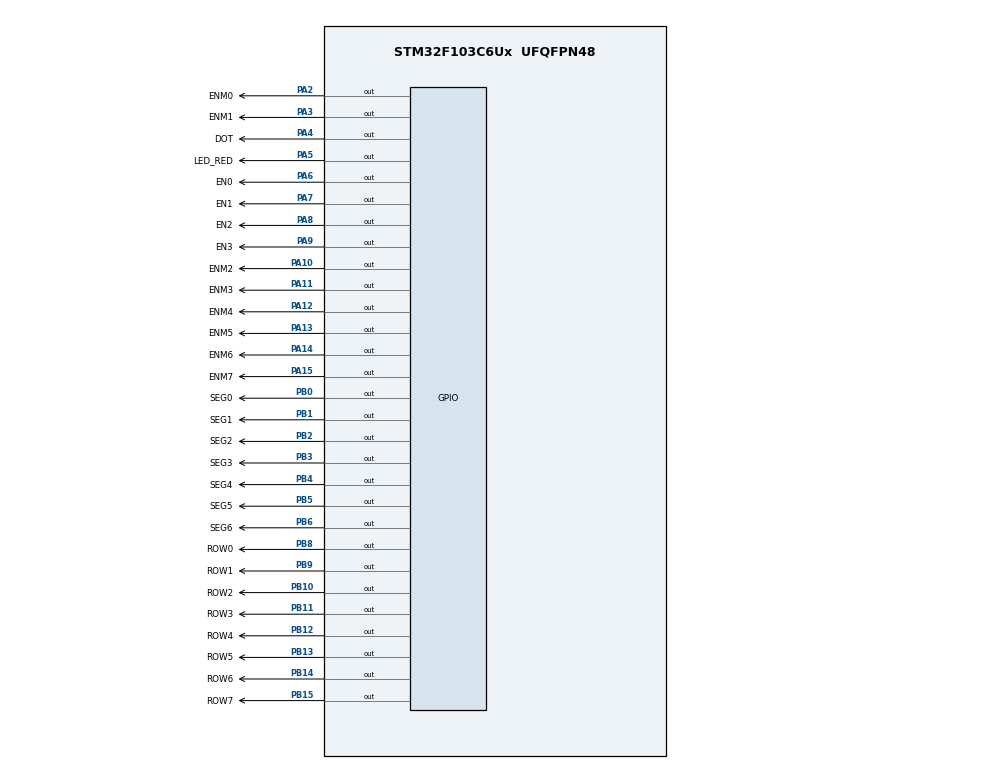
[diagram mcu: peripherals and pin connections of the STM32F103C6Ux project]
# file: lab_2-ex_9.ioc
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Mcu.Family=STM32F1
Mcu.Name=STM32F103C6Ux
Mcu.Package=UFQFPN48
NVIC.PriorityGroup=NVIC_PRIORITYGROUP_4
NVIC.TIM2_IRQn=true\:0\:0\:false\:false\:true\:true\:true
PA10.GPIO_Label=ENM2
PA10.Signal=GPIO_Output
PA11.GPIO_Label=ENM3
PA11.Signal=GPIO_Output
PA12.GPIO_Label=ENM4
PA12.Signal=GPIO_Output
PA13.GPIO_Label=ENM5
PA13.Signal=GPIO_Output
PA14.GPIO_Label=ENM6
PA14.Signal=GPIO_Output
PA15.GPIO_Label=ENM7
PA15.Signal=GPIO_Output
PA2.GPIO_Label=ENM0
PA2.Signal=GPIO_Output
PA3.GPIO_Label=ENM1
PA3.Signal=GPIO_Output
PA4.GPIO_Label=DOT
PA4.Signal=GPIO_Output
PA5.GPIO_Label=LED_RED
PA5.Signal=GPIO_Output
PA6.GPIO_Label=EN0
PA6.Signal=GPIO_Output
PA7.GPIO_Label=EN1
PA7.Signal=GPIO_Output
PA8.GPIO_Label=EN2
PA8.Signal=GPIO_Output
PA9.GPIO_Label=EN3
PA9.Signal=GPIO_Output
PB0.GPIO_Label=SEG0
PB0.Signal=GPIO_Output
PB1.GPIO_Label=SEG1
PB1.Signal=GPIO_Output
PB10.GPIO_Label=ROW2
PB10.Signal=GPIO_Output
PB11.GPIO_Label=ROW3
PB11.Signal=GPIO_Output
PB12.GPIO_Label=ROW4
PB12.Signal=GPIO_Output
PB13.GPIO_Label=ROW5
PB13.Signal=GPIO_Output
PB14.GPIO_Label=ROW6
PB14.Signal=GPIO_Output
PB15.GPIO_Label=ROW7
PB15.Signal=GPIO_Output
PB2.GPIO_Label=SEG2
PB2.Signal=GPIO_Output
PB3.GPIO_Label=SEG3
PB3.Signal=GPIO_Output
PB4.GPIO_Label=SEG4
PB4.Signal=GPIO_Output
PB5.GPIO_Label=SEG5
PB5.Signal=GPIO_Output
PB6.GPIO_Label=SEG6
PB6.Signal=GPIO_Output
PB8.GPIO_Label=ROW0
PB8.Signal=GPIO_Output
PB9.GPIO_Label=ROW1
PB9.Signal=GPIO_Output
ProjectManager.HeapSize=0x200
ProjectManager.StackSize=0x400
ProjectManager.TargetToolchain=STM32CubeIDE
RCC.APB1Freq_Value=8000000
RCC.APB2Freq_Value=8000000
TIM2.Period=9
TIM2.Prescaler=7999
VP_SYS_VS_ND.Mode=No_Debug
VP_TIM2_VS_ClockSourceINT.Mode=Internal
board=custom

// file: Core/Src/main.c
/* USER CODE BEGIN Header */
/**
  ******************************************************************************
  * @file           : main.c
  * @brief          : Main program body
  ******************************************************************************
  * @attention
  *
  * <h2><center>&copy; Copyright (c) 2022 STMicroelectronics.
  * All rights reserved.</center></h2>
  *
  * This software component is licensed by ST under BSD 3-Clause license,
  * the "License"; You may not use this file except in compliance with the
  * License. You may obtain a copy of the License at:
  *                        opensource.org/licenses/BSD-3-Clause
  *
  ******************************************************************************
  */
/* USER CODE END Header */
#include "main.h"

TIM_HandleTypeDef htim2;

void SystemClock_Config(void);
static void MX_GPIO_Init(void);
static void MX_TIM2_Init(void);

/* USER CODE BEGIN 0 */
int hour = 15, minute = 8, second = 50;
void updateClockBuffer();
int timer0_counter = 0;
int timer0_flag = 0;
int TIMER_CYCLE = 10;
void setTimer0(int duration){
	timer0_counter = duration /TIMER_CYCLE;
	timer0_flag = 0;
}
int timer1_counter = 0;
int timer1_flag = 0;
void setTimer1(int duration){
	timer1_counter = duration /TIMER_CYCLE;
	timer1_flag = 0;
}
void timer_run(){
	if(timer0_counter > 0){
		timer0_counter--;
		if(timer0_counter == 0) timer0_flag = 1;
	}
	if(timer1_counter > 0){
		timer1_counter--;
		if(timer1_counter == 0) timer1_flag = 1;
	}
}
/* USER CODE END 0 */

int main(void)
{
  /* USER CODE BEGIN 1 */
	const int MAX_LED = 4;
	int index_led = 1;
	int led_buffer[4] = {0, 5, 7, 8};
	int flag_start = 0;
	int flag_matrix_start = 0;
	unsigned char num[] = {0x40, 0x79, 0x24, 0x30, 0x19, 0x12, 0x02, 0x78, 0x00, 0x10};

	void updateClockBuffer(){
		//Hour
		  if(hour < 10){
			  led_buffer[0] = 0;
			  led_buffer[1] = hour;
		  } else if(hour < 20 && hour >= 10){
			  led_buffer[0] = 1;
			  led_buffer[1] = hour - 10;
		  } else {
			  led_buffer[0] = 2;
			  led_buffer[2] = hour - 20;
		  }
		 //Minute
		  if(minute < 10){
			  led_buffer[2] = 0;
			  led_buffer[3] = minute;
		  } else if(minute < 20 && minute >= 10){
			  led_buffer[2] = 1;
			  led_buffer[3] = minute - 10;
		  } else if(minute < 30 && minute >= 20){
			  led_buffer[2] = 2;
			  led_buffer[3] = minute - 20;
		  } else if(minute < 40 && minute >= 30){
			  led_buffer[2] = 3;
			  led_buffer[3] = minute - 30;
		  }else if(minute < 50 && minute >= 40){
			  led_buffer[2] = 4;
			  led_buffer[3] = minute - 40;
		  }else{
			  led_buffer[2] = 5;
			  led_buffer[3] = minute - 50;
		  }
	}

	void update7SEG(int index){
		updateClockBuffer();
		HAL_GPIO_WritePin ( EN0_GPIO_Port, EN0_Pin , SET );
		HAL_GPIO_WritePin ( EN1_GPIO_Port, EN1_Pin , SET );
		HAL_GPIO_WritePin ( EN2_GPIO_Port, EN2_Pin , SET );
		HAL_GPIO_WritePin ( EN3_GPIO_Port, EN3_Pin , SET );
	    switch (index){
	        case 0:
	            //Display the first 7SEG with led_buffer[0]
	        	GPIOB->ODR = num[led_buffer[0]];
	        	HAL_GPIO_WritePin ( EN0_GPIO_Port, EN0_Pin , RESET );
	            break;
	        case 1:
	            //Display the second 7SEG with led_buffer[1]
	        	GPIOB->ODR = num[led_buffer[1]];
	        	HAL_GPIO_WritePin ( EN1_GPIO_Port, EN1_Pin , RESET );
	            break;
	        case 2:
	            //Display the third 7SEG with led_buffer[2]
	        	GPIOB->ODR = num[led_buffer[2]];
	        	HAL_GPIO_WritePin ( EN2_GPIO_Port, EN2_Pin , RESET );
	            break;
	        case 3:
	            //Display the forth 7SEG with led_buffer[3]
	        	GPIOB->ODR = num[led_buffer[3]];
	        	HAL_GPIO_WritePin ( EN3_GPIO_Port, EN3_Pin , RESET );
	            break;
	        default:
	            break;
	    }
	}

  /* USER CODE END 1 */

  /* MCU Configuration--------------------------------------------------------*/

  /* Reset of all peripherals, Initializes the Flash interface and the Systick. */
  HAL_Init();

  /* USER CODE BEGIN Init */
  const int MAX_LED_MATRIX = 8;
  int index_led_matrix = 1;
//  uint8_t matrix_buffer[8] = {0x01, 0x02, 0x03, 0x04, 0x05, 0x06, 0x07, 0x08};
  void updateLEDMatrix(int index){
	  HAL_GPIO_WritePin(ENM0_GPIO_Port, ENM0_Pin, GPIO_PIN_SET);
	  HAL_GPIO_WritePin(ENM1_GPIO_Port, ENM1_Pin, GPIO_PIN_SET);
	  HAL_GPIO_WritePin(ENM2_GPIO_Port, ENM2_Pin, GPIO_PIN_SET);
	  HAL_GPIO_WritePin(ENM3_GPIO_Port, ENM3_Pin, GPIO_PIN_SET);
	  HAL_GPIO_WritePin(ENM4_GPIO_Port, ENM4_Pin, GPIO_PIN_SET);
	  HAL_GPIO_WritePin(ENM5_GPIO_Port, ENM5_Pin, GPIO_PIN_SET);
	  HAL_GPIO_WritePin(ENM6_GPIO_Port, ENM6_Pin, GPIO_PIN_SET);
	  HAL_GPIO_WritePin(ENM7_GPIO_Port, ENM7_Pin, GPIO_PIN_SET);

	  HAL_GPIO_WritePin(ROW0_GPIO_Port, ROW0_Pin, GPIO_PIN_SET);
	  HAL_GPIO_WritePin(ROW1_GPIO_Port, ROW1_Pin, GPIO_PIN_SET);
	  HAL_GPIO_WritePin(ROW2_GPIO_Port, ROW2_Pin, GPIO_PIN_SET);
	  HAL_GPIO_WritePin(ROW3_GPIO_Port, ROW3_Pin, GPIO_PIN_SET);
	  HAL_GPIO_WritePin(ROW4_GPIO_Port, ROW4_Pin, GPIO_PIN_SET);
	  HAL_GPIO_WritePin(ROW5_GPIO_Port, ROW5_Pin, GPIO_PIN_SET);
	  HAL_GPIO_WritePin(ROW6_GPIO_Port, ROW6_Pin, GPIO_PIN_SET);
	  HAL_GPIO_WritePin(ROW7_GPIO_Port, ROW7_Pin, GPIO_PIN_SET);
      switch (index){
          case 0:
        	  HAL_GPIO_WritePin(ENM0_GPIO_Port, ENM0_Pin, GPIO_PIN_SET);
        	  HAL_GPIO_WritePin(ENM1_GPIO_Port, ENM1_Pin, GPIO_PIN_SET);
        	  HAL_GPIO_WritePin(ENM2_GPIO_Port, ENM2_Pin, GPIO_PIN_SET);
        	  HAL_GPIO_WritePin(ENM3_GPIO_Port, ENM3_Pin, GPIO_PIN_RESET);
        	  HAL_GPIO_WritePin(ENM4_GPIO_Port, ENM4_Pin, GPIO_PIN_RESET);
        	  HAL_GPIO_WritePin(ENM5_GPIO_Port, ENM5_Pin, GPIO_PIN_SET);
        	  HAL_GPIO_WritePin(ENM6_GPIO_Port, ENM6_Pin, GPIO_PIN_SET);
        	  HAL_GPIO_WritePin(ENM7_GPIO_Port, ENM7_Pin, GPIO_PIN_SET);

        	  HAL_GPIO_WritePin(ROW0_GPIO_Port, ROW0_Pin, GPIO_PIN_RESET);
        	  HAL_GPIO_WritePin(ROW1_GPIO_Port, ROW1_Pin, GPIO_PIN_SET);
        	  HAL_GPIO_WritePin(ROW2_GPIO_Port, ROW2_Pin, GPIO_PIN_SET);
        	  HAL_GPIO_WritePin(ROW3_GPIO_Port, ROW3_Pin, GPIO_PIN_SET);
        	  HAL_GPIO_WritePin(ROW4_GPIO_Port, ROW4_Pin, GPIO_PIN_SET);
        	  HAL_GPIO_WritePin(ROW5_GPIO_Port, ROW5_Pin, GPIO_PIN_SET);
        	  HAL_GPIO_WritePin(ROW6_GPIO_Port, ROW6_Pin, GPIO_PIN_SET);
        	  HAL_GPIO_WritePin(ROW7_GPIO_Port, ROW7_Pin, GPIO_PIN_SET);
              break;
          case 1:
        	  HAL_GPIO_WritePin(ENM0_GPIO_Port, ENM0_Pin, GPIO_PIN_SET);
        	  HAL_GPIO_WritePin(ENM1_GPIO_Port, ENM1_Pin, GPIO_PIN_SET);
        	  HAL_GPIO_WritePin(ENM2_GPIO_Port, ENM2_Pin, GPIO_PIN_RESET);
        	  HAL_GPIO_WritePin(ENM3_GPIO_Port, ENM3_Pin, GPIO_PIN_RESET);
        	  HAL_GPIO_WritePin(ENM4_GPIO_Port, ENM4_Pin, GPIO_PIN_RESET);
        	  HAL_GPIO_WritePin(ENM5_GPIO_Port, ENM5_Pin, GPIO_PIN_RESET);
        	  HAL_GPIO_WritePin(ENM6_GPIO_Port, ENM6_Pin, GPIO_PIN_SET);
        	  HAL_GPIO_WritePin(ENM7_GPIO_Port, ENM7_Pin, GPIO_PIN_SET);

        	  HAL_GPIO_WritePin(ROW0_GPIO_Port, ROW0_Pin, GPIO_PIN_SET);
        	  HAL_GPIO_WritePin(ROW1_GPIO_Port, ROW1_Pin, GPIO_PIN_RESET);
        	  HAL_GPIO_WritePin(ROW2_GPIO_Port, ROW2_Pin, GPIO_PIN_SET);
        	  HAL_GPIO_WritePin(ROW3_GPIO_Port, ROW3_Pin, GPIO_PIN_SET);
        	  HAL_GPIO_WritePin(ROW4_GPIO_Port, ROW4_Pin, GPIO_PIN_SET);
        	  HAL_GPIO_WritePin(ROW5_GPIO_Port, ROW5_Pin, GPIO_PIN_SET);
        	  HAL_GPIO_WritePin(ROW6_GPIO_Port, ROW6_Pin, GPIO_PIN_SET);
        	  HAL_GPIO_WritePin(ROW7_GPIO_Port, ROW7_Pin, GPIO_PIN_SET);
              break;
          case 2:
        	  HAL_GPIO_WritePin(ENM0_GPIO_Port, ENM0_Pin, GPIO_PIN_SET);
        	  HAL_GPIO_WritePin(ENM1_GPIO_Port, ENM1_Pin, GPIO_PIN_RESET);
        	  HAL_GPIO_WritePin(ENM2_GPIO_Port, ENM2_Pin, GPIO_PIN_RESET);
        	  HAL_GPIO_WritePin(ENM3_GPIO_Port, ENM3_Pin, GPIO_PIN_SET);
        	  HAL_GPIO_WritePin(ENM4_GPIO_Port, ENM4_Pin, GPIO_PIN_SET);
        	  HAL_GPIO_WritePin(ENM5_GPIO_Port, ENM5_Pin, GPIO_PIN_RESET);
        	  HAL_GPIO_WritePin(ENM6_GPIO_Port, ENM6_Pin, GPIO_PIN_RESET);
        	  HAL_GPIO_WritePin(ENM7_GPIO_Port, ENM7_Pin, GPIO_PIN_SET);

        	  HAL_GPIO_WritePin(ROW0_GPIO_Port, ROW0_Pin, GPIO_PIN_SET);
        	  HAL_GPIO_WritePin(ROW1_GPIO_Port, ROW1_Pin, GPIO_PIN_SET);
        	  HAL_GPIO_WritePin(ROW2_GPIO_Port, ROW2_Pin, GPIO_PIN_RESET);
        	  HAL_GPIO_WritePin(ROW3_GPIO_Port, ROW3_Pin, GPIO_PIN_SET);
        	  HAL_GPIO_WritePin(ROW4_GPIO_Port, ROW4_Pin, GPIO_PIN_SET);
        	  HAL_GPIO_WritePin(ROW5_GPIO_Port, ROW5_Pin, GPIO_PIN_SET);
        	  HAL_GPIO_WritePin(ROW6_GPIO_Port, ROW6_Pin, GPIO_PIN_SET);
        	  HAL_GPIO_WritePin(ROW7_GPIO_Port, ROW7_Pin, GPIO_PIN_SET);
              break;
          case 3:
        	  HAL_GPIO_WritePin(ENM0_GPIO_Port, ENM0_Pin, GPIO_PIN_SET);
        	  HAL_GPIO_WritePin(ENM1_GPIO_Port, ENM1_Pin, GPIO_PIN_RESET);
        	  HAL_GPIO_WritePin(ENM2_GPIO_Port, ENM2_Pin, GPIO_PIN_RESET);
        	  HAL_GPIO_WritePin(ENM3_GPIO_Port, ENM3_Pin, GPIO_PIN_SET);
        	  HAL_GPIO_WritePin(ENM4_GPIO_Port, ENM4_Pin, GPIO_PIN_SET);
        	  HAL_GPIO_WritePin(ENM5_GPIO_Port, ENM5_Pin, GPIO_PIN_RESET);
        	  HAL_GPIO_WritePin(ENM6_GPIO_Port, ENM6_Pin, GPIO_PIN_RESET);
        	  HAL_GPIO_WritePin(ENM7_GPIO_Port, ENM7_Pin, GPIO_PIN_SET);

        	  HAL_GPIO_WritePin(ROW0_GPIO_Port, ROW0_Pin, GPIO_PIN_SET);
        	  HAL_GPIO_WritePin(ROW1_GPIO_Port, ROW1_Pin, GPIO_PIN_SET);
        	  HAL_GPIO_WritePin(ROW2_GPIO_Port, ROW2_Pin, GPIO_PIN_SET);
        	  HAL_GPIO_WritePin(ROW3_GPIO_Port, ROW3_Pin, GPIO_PIN_RESET);
        	  HAL_GPIO_WritePin(ROW4_GPIO_Port, ROW4_Pin, GPIO_PIN_SET);
        	  HAL_GPIO_WritePin(ROW5_GPIO_Port, ROW5_Pin, GPIO_PIN_SET);
        	  HAL_GPIO_WritePin(ROW6_GPIO_Port, ROW6_Pin, GPIO_PIN_SET);
        	  HAL_GPIO_WritePin(ROW7_GPIO_Port, ROW7_Pin, GPIO_PIN_SET);
              break;
          case 4:
        	  HAL_GPIO_WritePin(ENM0_GPIO_Port, ENM0_Pin, GPIO_PIN_SET);
        	  HAL_GPIO_WritePin(ENM1_GPIO_Port, ENM1_Pin, GPIO_PIN_RESET);
        	  HAL_GPIO_WritePin(ENM2_GPIO_Port, ENM2_Pin, GPIO_PIN_RESET);
        	  HAL_GPIO_WritePin(ENM3_GPIO_Port, ENM3_Pin, GPIO_PIN_RESET);
        	  HAL_GPIO_WritePin(ENM4_GPIO_Port, ENM4_Pin, GPIO_PIN_RESET);
        	  HAL_GPIO_WritePin(ENM5_GPIO_Port, ENM5_Pin, GPIO_PIN_RESET);
        	  HAL_GPIO_WritePin(ENM6_GPIO_Port, ENM6_Pin, GPIO_PIN_RESET);
        	  HAL_GPIO_WritePin(ENM7_GPIO_Port, ENM7_Pin, GPIO_PIN_SET);

        	  HAL_GPIO_WritePin(ROW0_GPIO_Port, ROW0_Pin, GPIO_PIN_SET);
        	  HAL_GPIO_WritePin(ROW1_GPIO_Port, ROW1_Pin, GPIO_PIN_SET);
        	  HAL_GPIO_WritePin(ROW2_GPIO_Port, ROW2_Pin, GPIO_PIN_SET);
        	  HAL_GPIO_WritePin(ROW3_GPIO_Port, ROW3_Pin, GPIO_PIN_SET);
        	  HAL_GPIO_WritePin(ROW4_GPIO_Port, ROW4_Pin, GPIO_PIN_RESET);
        	  HAL_GPIO_WritePin(ROW5_GPIO_Port, ROW5_Pin, GPIO_PIN_SET);
        	  HAL_GPIO_WritePin(ROW6_GPIO_Port, ROW6_Pin, GPIO_PIN_SET);
        	  HAL_GPIO_WritePin(ROW7_GPIO_Port, ROW7_Pin, GPIO_PIN_SET);
              break;
          case 5:
        	  HAL_GPIO_WritePin(ENM0_GPIO_Port, ENM0_Pin, GPIO_PIN_SET);
        	  HAL_GPIO_WritePin(ENM1_GPIO_Port, ENM1_Pin, GPIO_PIN_RESET);
        	  HAL_GPIO_WritePin(ENM2_GPIO_Port, ENM2_Pin, GPIO_PIN_RESET);
        	  HAL_GPIO_WritePin(ENM3_GPIO_Port, ENM3_Pin, GPIO_PIN_RESET);
        	  HAL_GPIO_WritePin(ENM4_GPIO_Port, ENM4_Pin, GPIO_PIN_RESET);
        	  HAL_GPIO_WritePin(ENM5_GPIO_Port, ENM5_Pin, GPIO_PIN_RESET);
        	  HAL_GPIO_WritePin(ENM6_GPIO_Port, ENM6_Pin, GPIO_PIN_RESET);
        	  HAL_GPIO_WritePin(ENM7_GPIO_Port, ENM7_Pin, GPIO_PIN_SET);

        	  HAL_GPIO_WritePin(ROW0_GPIO_Port, ROW0_Pin, GPIO_PIN_SET);
        	  HAL_GPIO_WritePin(ROW1_GPIO_Port, ROW1_Pin, GPIO_PIN_SET);
        	  HAL_GPIO_WritePin(ROW2_GPIO_Port, ROW2_Pin, GPIO_PIN_SET);
        	  HAL_GPIO_WritePin(ROW3_GPIO_Port, ROW3_Pin, GPIO_PIN_SET);
        	  HAL_GPIO_WritePin(ROW4_GPIO_Port, ROW4_Pin, GPIO_PIN_SET);
        	  HAL_GPIO_WritePin(ROW5_GPIO_Port, ROW5_Pin, GPIO_PIN_RESET);
        	  HAL_GPIO_WritePin(ROW6_GPIO_Port, ROW6_Pin, GPIO_PIN_SET);
        	  HAL_GPIO_WritePin(ROW7_GPIO_Port, ROW7_Pin, GPIO_PIN_SET);
              break;
          case 6:
        	  HAL_GPIO_WritePin(ENM0_GPIO_Port, ENM0_Pin, GPIO_PIN_SET);
        	  HAL_GPIO_WritePin(ENM1_GPIO_Port, ENM1_Pin, GPIO_PIN_RESET);
        	  HAL_GPIO_WritePin(ENM2_GPIO_Port, ENM2_Pin, GPIO_PIN_RESET);
        	  HAL_GPIO_WritePin(ENM3_GPIO_Port, ENM3_Pin, GPIO_PIN_SET);
        	  HAL_GPIO_WritePin(ENM4_GPIO_Port, ENM4_Pin, GPIO_PIN_SET);
        	  HAL_GPIO_WritePin(ENM5_GPIO_Port, ENM5_Pin, GPIO_PIN_RESET);
        	  HAL_GPIO_WritePin(ENM6_GPIO_Port, ENM6_Pin, GPIO_PIN_RESET);
        	  HAL_GPIO_WritePin(ENM7_GPIO_Port, ENM7_Pin, GPIO_PIN_SET);

        	  HAL_GPIO_WritePin(ROW0_GPIO_Port, ROW0_Pin, GPIO_PIN_SET);
        	  HAL_GPIO_WritePin(ROW1_GPIO_Port, ROW1_Pin, GPIO_PIN_SET);
        	  HAL_GPIO_WritePin(ROW2_GPIO_Port, ROW2_Pin, GPIO_PIN_SET);
        	  HAL_GPIO_WritePin(ROW3_GPIO_Port, ROW3_Pin, GPIO_PIN_SET);
        	  HAL_GPIO_WritePin(ROW4_GPIO_Port, ROW4_Pin, GPIO_PIN_SET);
        	  HAL_GPIO_WritePin(ROW5_GPIO_Port, ROW5_Pin, GPIO_PIN_SET);
        	  HAL_GPIO_WritePin(ROW6_GPIO_Port, ROW6_Pin, GPIO_PIN_RESET);
        	  HAL_GPIO_WritePin(ROW7_GPIO_Port, ROW7_Pin, GPIO_PIN_SET);
              break;
          case 7:
        	  HAL_GPIO_WritePin(ENM0_GPIO_Port, ENM0_Pin, GPIO_PIN_SET);
        	  HAL_GPIO_WritePin(ENM1_GPIO_Port, ENM1_Pin, GPIO_PIN_RESET);
        	  HAL_GPIO_WritePin(ENM2_GPIO_Port, ENM2_Pin, GPIO_PIN_RESET);
        	  HAL_GPIO_WritePin(ENM3_GPIO_Port, ENM3_Pin, GPIO_PIN_SET);
        	  HAL_GPIO_WritePin(ENM4_GPIO_Port, ENM4_Pin, GPIO_PIN_SET);
        	  HAL_GPIO_WritePin(ENM5_GPIO_Port, ENM5_Pin, GPIO_PIN_RESET);
        	  HAL_GPIO_WritePin(ENM6_GPIO_Port, ENM6_Pin, GPIO_PIN_RESET);
        	  HAL_GPIO_WritePin(ENM7_GPIO_Port, ENM7_Pin, GPIO_PIN_SET);

        	  HAL_GPIO_WritePin(ROW0_GPIO_Port, ROW0_Pin, GPIO_PIN_SET);
        	  HAL_GPIO_WritePin(ROW1_GPIO_Port, ROW1_Pin, GPIO_PIN_SET);
        	  HAL_GPIO_WritePin(ROW2_GPIO_Port, ROW2_Pin, GPIO_PIN_SET);
        	  HAL_GPIO_WritePin(ROW3_GPIO_Port, ROW3_Pin, GPIO_PIN_SET);
        	  HAL_GPIO_WritePin(ROW4_GPIO_Port, ROW4_Pin, GPIO_PIN_SET);
        	  HAL_GPIO_WritePin(ROW5_GPIO_Port, ROW5_Pin, GPIO_PIN_SET);
        	  HAL_GPIO_WritePin(ROW6_GPIO_Port, ROW6_Pin, GPIO_PIN_SET);
        	  HAL_GPIO_WritePin(ROW7_GPIO_Port, ROW7_Pin, GPIO_PIN_RESET);
              break;
          default:
              break;
      }
  }
  /* USER CODE END Init */

  /* Configure the system clock */
  SystemClock_Config();

  /* Initialize all configured peripherals */
  MX_GPIO_Init();
  MX_TIM2_Init();
  /* USER CODE BEGIN 2 */
  HAL_TIM_Base_Start_IT(&htim2);
  /* USER CODE END 2 */

  /* Infinite loop */
  /* USER CODE BEGIN WHILE */
  setTimer0(1000);
  setTimer1(500);
  while (1)
  {
	  if(flag_start == 0){
		  update7SEG(0);
		  flag_start = 1;
	  }
	  if(flag_matrix_start == 0){
		  updateLEDMatrix(0);
		  flag_matrix_start = 1;
	  }
	  if (timer0_flag == 1) {
	  		  second++;
	  		  if (second >= 60) {
	  			  second = 0;
	  			  minute++;
	  		  }
	  		  if(minute >= 60) {
	  			  minute = 0;
	  			  hour++;
	  		  }
	  		  if(hour >=24){
	  			  hour = 0;
	  		  }
	  		  updateClockBuffer();
	  		  HAL_GPIO_TogglePin(DOT_GPIO_Port, DOT_Pin);
	  		  HAL_GPIO_TogglePin(LED_RED_GPIO_Port, LED_RED_Pin);
	  		  setTimer0(1000);
	  	  }
	  	  if (timer1_flag == 1) {
	  		  update7SEG(index_led);
	  		  index_led++;
		  		updateLEDMatrix(index_led_matrix);
		  		index_led_matrix++;
	  		  if(index_led == MAX_LED) index_led = 0;
	  		  if(index_led_matrix == MAX_LED_MATRIX) index_led_matrix = 0;
	  		  setTimer1(500);
	  	  }
    /* USER CODE END WHILE */

  }
}

void SystemClock_Config(void)
{
  RCC_OscInitTypeDef RCC_OscInitStruct = {0};
  RCC_ClkInitTypeDef RCC_ClkInitStruct = {0};

  /** Initializes the RCC Oscillators according to the specified parameters
  * in the RCC_OscInitTypeDef structure.
  */
  RCC_OscInitStruct.OscillatorType = RCC_OSCILLATORTYPE_HSI;
  RCC_OscInitStruct.HSIState = RCC_HSI_ON;
  RCC_OscInitStruct.HSICalibrationValue = RCC_HSICALIBRATION_DEFAULT;
  RCC_OscInitStruct.PLL.PLLState = RCC_PLL_NONE;
  if (HAL_RCC_OscConfig(&RCC_OscInitStruct) != HAL_OK)
  {
    Error_Handler();
  }
  /** Initializes the CPU, AHB and APB buses clocks
  */
  RCC_ClkInitStruct.ClockType = RCC_CLOCKTYPE_HCLK|RCC_CLOCKTYPE_SYSCLK
                              |RCC_CLOCKTYPE_PCLK1|RCC_CLOCKTYPE_PCLK2;
  RCC_ClkInitStruct.SYSCLKSource = RCC_SYSCLKSOURCE_HSI;
  RCC_ClkInitStruct.AHBCLKDivider = RCC_SYSCLK_DIV1;
  RCC_ClkInitStruct.APB1CLKDivider = RCC_HCLK_DIV1;
  RCC_ClkInitStruct.APB2CLKDivider = RCC_HCLK_DIV1;

  if (HAL_RCC_ClockConfig(&RCC_ClkInitStruct, FLASH_LATENCY_0) != HAL_OK)
  {
    Error_Handler();
  }
}

static void MX_TIM2_Init(void)
{

  TIM_ClockConfigTypeDef sClockSourceConfig = {0};
  TIM_MasterConfigTypeDef sMasterConfig = {0};

  htim2.Instance = TIM2;
  htim2.Init.Prescaler = 7999;
  htim2.Init.CounterMode = TIM_COUNTERMODE_UP;
  htim2.Init.Period = 9;
  htim2.Init.ClockDivision = TIM_CLOCKDIVISION_DIV1;
  htim2.Init.AutoReloadPreload = TIM_AUTORELOAD_PRELOAD_DISABLE;
  if (HAL_TIM_Base_Init(&htim2) != HAL_OK)
  {
    Error_Handler();
  }
  sClockSourceConfig.ClockSource = TIM_CLOCKSOURCE_INTERNAL;
  if (HAL_TIM_ConfigClockSource(&htim2, &sClockSourceConfig) != HAL_OK)
  {
    Error_Handler();
  }
  sMasterConfig.MasterOutputTrigger = TIM_TRGO_RESET;
  sMasterConfig.MasterSlaveMode = TIM_MASTERSLAVEMODE_DISABLE;
  if (HAL_TIMEx_MasterConfigSynchronization(&htim2, &sMasterConfig) != HAL_OK)
  {
    Error_Handler();
  }

}

static void MX_GPIO_Init(void)
{
  GPIO_InitTypeDef GPIO_InitStruct = {0};

  /* GPIO Ports Clock Enable */
  __HAL_RCC_GPIOA_CLK_ENABLE();
  __HAL_RCC_GPIOB_CLK_ENABLE();

  /*Configure GPIO pin Output Level */
  HAL_GPIO_WritePin(GPIOA, ENM0_Pin|ENM1_Pin|DOT_Pin|LED_RED_Pin
                          |EN0_Pin|EN1_Pin|EN2_Pin|EN3_Pin
                          |ENM2_Pin|ENM3_Pin|ENM4_Pin|ENM5_Pin
                          |ENM6_Pin|ENM7_Pin, GPIO_PIN_RESET);

  /*Configure GPIO pin Output Level */
  HAL_GPIO_WritePin(GPIOB, SEG0_Pin|SEG1_Pin|SEG2_Pin|ROW2_Pin
                          |ROW3_Pin|ROW4_Pin|ROW5_Pin|ROW6_Pin
                          |ROW7_Pin|SEG3_Pin|SEG4_Pin|SEG5_Pin
                          |SEG6_Pin|ROW0_Pin|ROW1_Pin, GPIO_PIN_RESET);

  /*Configure GPIO pins : ENM0_Pin ENM1_Pin DOT_Pin LED_RED_Pin
                           EN0_Pin EN1_Pin EN2_Pin EN3_Pin
                           ENM2_Pin ENM3_Pin ENM4_Pin ENM5_Pin
                           ENM6_Pin ENM7_Pin */
  GPIO_InitStruct.Pin = ENM0_Pin|ENM1_Pin|DOT_Pin|LED_RED_Pin
                          |EN0_Pin|EN1_Pin|EN2_Pin|EN3_Pin
                          |ENM2_Pin|ENM3_Pin|ENM4_Pin|ENM5_Pin
                          |ENM6_Pin|ENM7_Pin;
  GPIO_InitStruct.Mode = GPIO_MODE_OUTPUT_PP;
  GPIO_InitStruct.Pull = GPIO_NOPULL;
  GPIO_InitStruct.Speed = GPIO_SPEED_FREQ_LOW;
  HAL_GPIO_Init(GPIOA, &GPIO_InitStruct);

  /*Configure GPIO pins : SEG0_Pin SEG1_Pin SEG2_Pin ROW2_Pin
                           ROW3_Pin ROW4_Pin ROW5_Pin ROW6_Pin
                           ROW7_Pin SEG3_Pin SEG4_Pin SEG5_Pin
                           SEG6_Pin ROW0_Pin ROW1_Pin */
  GPIO_InitStruct.Pin = SEG0_Pin|SEG1_Pin|SEG2_Pin|ROW2_Pin
                          |ROW3_Pin|ROW4_Pin|ROW5_Pin|ROW6_Pin
                          |ROW7_Pin|SEG3_Pin|SEG4_Pin|SEG5_Pin
                          |SEG6_Pin|ROW0_Pin|ROW1_Pin;
  GPIO_InitStruct.Mode = GPIO_MODE_OUTPUT_PP;
  GPIO_InitStruct.Pull = GPIO_NOPULL;
  GPIO_InitStruct.Speed = GPIO_SPEED_FREQ_LOW;
  HAL_GPIO_Init(GPIOB, &GPIO_InitStruct);

}

/* USER CODE BEGIN 4 */
void HAL_TIM_PeriodElapsedCallback(TIM_HandleTypeDef *htim){
	timer_run();
}
/* USER CODE END 4 */

void Error_Handler(void)
{
  __disable_irq();
  while (1)
  {
  }
}

/************************ (C) COPYRIGHT STMicroelectronics *****END OF FILE****/
